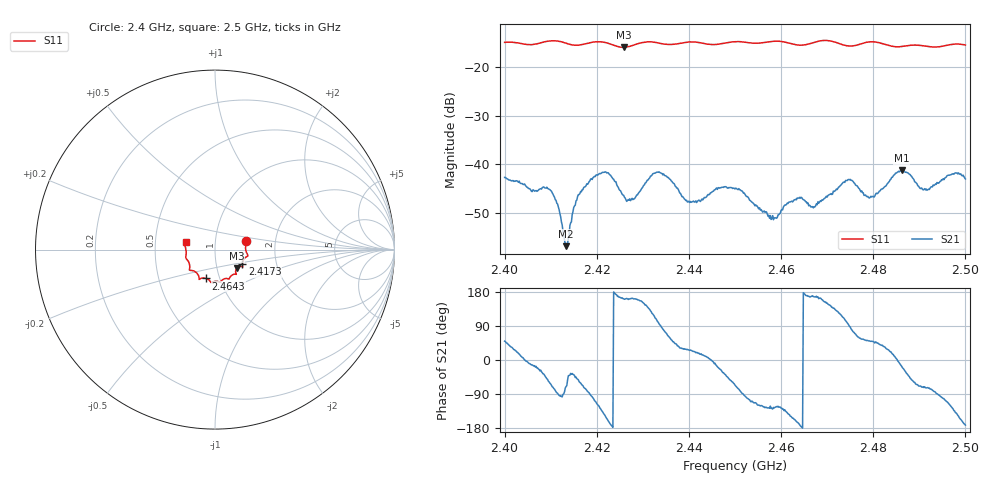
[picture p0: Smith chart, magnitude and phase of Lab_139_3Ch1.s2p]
# Hz S RI R 50
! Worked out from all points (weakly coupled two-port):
!   601 points, 2.4 GHz to 2.5 GHz, reference 50 ohm
!   highest |S21| = -41.32 dB at 2.4862 GHz (marker M1); lowest = -56.9 dB at 2.4133 GHz (marker M2)
!   lowest |S11| = -15.9 dB at 2.4258 GHz (marker M3), VSWR 1.38, Z = 62.3 - j13.3 ohm
!   |S11| at or under -10 dB: start of sweep to end of sweep
!   S12 and S22 are empty: the file has one direction only
!   S11 on the Smith chart (normalised r, x): 2.4 GHz: 1.41, +0.14; 2.4173 GHz: 1.34, -0.23; 2.4643 GHz: 0.86, -0.28; 2.5 GHz: 0.72, +0.06
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2.4e9  0.1732 0.0492  0.0047 0.00556  0 0  0 0
2.409833e9  0.1833 -0.0319  0.00263 -0.00477  0 0  0 0
2.411667e9  0.1816 -0.0361  -6.87e-05 -0.0036  0 0  0 0
2.413333e9  0.1711 -0.0426  0.000488 -0.00134  0 0  0 0
2.416667e9  0.1529 -0.0745  0.00227 -0.00465  0 0  0 0
2.417333e9  0.1522 -0.082  0.00158 -0.00558  0 0  0 0
2.422e9  0.1513 -0.0948  -0.00726 -0.00396  0 0  0 0
2.425833e9  0.1218 -0.1037  -0.00452 0.0015  0 0  0 0
2.427833e9  0.1146 -0.1222  -0.0041 0.00129  0 0  0 0
2.433333e9  0.113 -0.1367  -0.00136 0.00812  0 0  0 0
2.440167e9  0.0793 -0.1637  0.00362 0.00171  0 0  0 0
2.45e9  0.0293 -0.1807  0.00223 -0.00507  0 0  0 0
2.458333e9  -0.0197 -0.1836  -0.00154 -0.00218  0 0  0 0
2.464333e9  -0.0501 -0.1608  -0.00454 -0.000333  0 0  0 0
2.466667e9  -0.0761 -0.1598  -0.00357 0.000712  0 0  0 0
2.4745e9  -0.1015 -0.1307  -0.000712 0.00686  0 0  0 0
2.479167e9  -0.141 -0.1151  0.00284 0.00345  0 0  0 0
2.483333e9  -0.1408 -0.0902  0.00581 0.00289  0 0  0 0
2.486167e9  -0.1508 -0.0619  0.00823 -0.00243  0 0  0 0
2.491167e9  -0.1616 -0.0328  0.00183 -0.00527  0 0  0 0
2.4975e9  -0.1703 0.0287  -0.00541 -0.00571  0 0  0 0
2.5e9  -0.1637 0.0419  -0.00696 -0.000998  0 0  0 0
